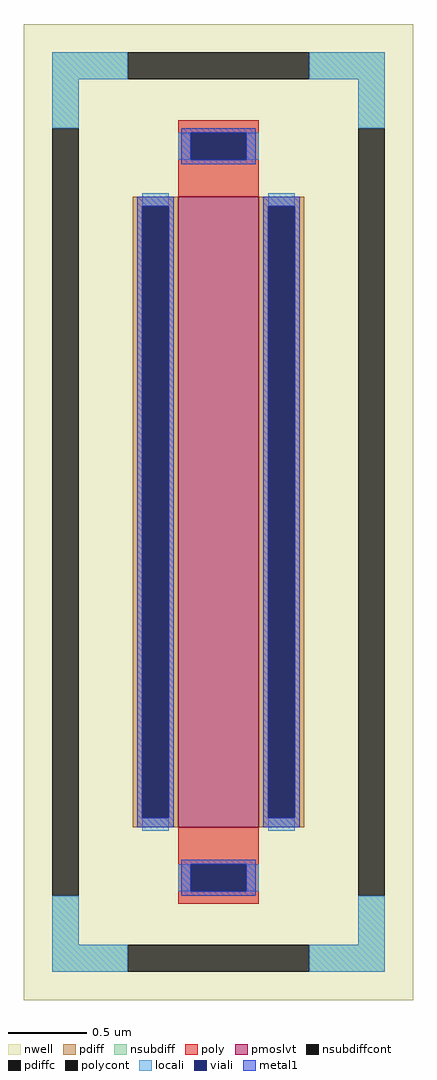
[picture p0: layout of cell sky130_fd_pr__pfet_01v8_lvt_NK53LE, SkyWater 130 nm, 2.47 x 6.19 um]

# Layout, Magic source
magic
tech sky130A
magscale 1 2
<< nwell >>
rect -247 -619 247 619
<< pmoslvt >>
rect -51 -400 51 400
<< pdiff >>
rect -109 388 -51 400
rect -109 -388 -97 388
rect -63 -388 -51 388
rect -109 -400 -51 -388
rect 51 388 109 400
rect 51 -388 63 388
rect 97 -388 109 388
rect 51 -400 109 -388
<< pdiffc >>
rect -97 -388 -63 388
rect 63 -388 97 388
<< nsubdiff >>
rect -211 549 -115 583
rect 115 549 211 583
rect -211 487 -177 549
rect 177 487 211 549
rect -211 -549 -177 -487
rect 177 -549 211 -487
rect -211 -583 -115 -549
rect 115 -583 211 -549
<< nsubdiffcont >>
rect -115 549 115 583
rect -211 -487 -177 487
rect 177 -487 211 487
rect -115 -583 115 -549
<< poly >>
rect -51 481 51 497
rect -51 447 -35 481
rect 35 447 51 481
rect -51 400 51 447
rect -51 -447 51 -400
rect -51 -481 -35 -447
rect 35 -481 51 -447
rect -51 -497 51 -481
<< polycont >>
rect -35 447 35 481
rect -35 -481 35 -447
<< locali >>
rect -211 549 -115 583
rect 115 549 211 583
rect -211 487 -177 549
rect 177 487 211 549
rect -51 447 -35 481
rect 35 447 51 481
rect -97 388 -63 404
rect -97 -404 -63 -388
rect 63 388 97 404
rect 63 -404 97 -388
rect -51 -481 -35 -447
rect 35 -481 51 -447
rect -211 -549 -177 -487
rect 177 -549 211 -487
rect -211 -583 -115 -549
rect 115 -583 211 -549
<< viali >>
rect -35 447 35 481
rect -97 -388 -63 388
rect 63 -388 97 388
rect -35 -481 35 -447
<< metal1 >>
rect -47 481 47 487
rect -47 447 -35 481
rect 35 447 47 481
rect -47 441 47 447
rect -103 388 -57 400
rect -103 -388 -97 388
rect -63 -388 -57 388
rect -103 -400 -57 -388
rect 57 388 103 400
rect 57 -388 63 388
rect 97 -388 103 388
rect 57 -400 103 -388
rect -47 -447 47 -441
rect -47 -481 -35 -447
rect 35 -481 47 -447
rect -47 -487 47 -481
<< properties >>
string FIXED_BBOX -194 -566 194 566
string gencell sky130_fd_pr__pfet_01v8_lvt
string library sky130
string parameters w 4.0 l 0.505 m 1 nf 1 diffcov 100 polycov 100 guard 1 glc 1 grc 1 gtc 1 gbc 1 tbcov 100 rlcov 100 topc 1 botc 1 poverlap 0 doverlap 1 lmin 0.35 wmin 0.42 compatible {sky130_fd_pr__pfet_01v8  sky130_fd_pr__pfet_01v8_lvt sky130_fd_pr__pfet_01v8_hvt  sky130_fd_pr__pfet_g5v0d10v5} full_metal 1 viasrc 100 viadrn 100 viagate 100 viagb 0 viagr 0 viagl 0 viagt 0
<< end >>
